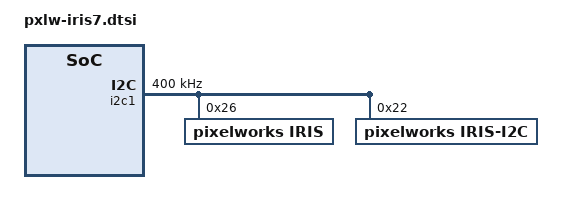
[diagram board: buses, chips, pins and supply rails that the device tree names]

#include "pxlw-iris7-cfg-xm-m12-42-02-0a-dsc-cmd.dtsi"
#include "pxlw-iris7-cfg-xm-m12-36-02-0b-dsc-cmd.dtsi"

&i2c1 {
	clock-frequency = <400000>;
	#address-cells = <1>;
	#size-cells = <0>;
	pixelworks@26 {  //i2c: 22, i3c: 26
		status = "okay";
		compatible = "pixelworks,iris";
		reg = <0x26>;
	};

	pixelworks@22 {  //i2c: 22, i3c: 26
		status = "okay";
		compatible = "pixelworks,iris-i2c";
		reg = <0x22>;
	};
};
